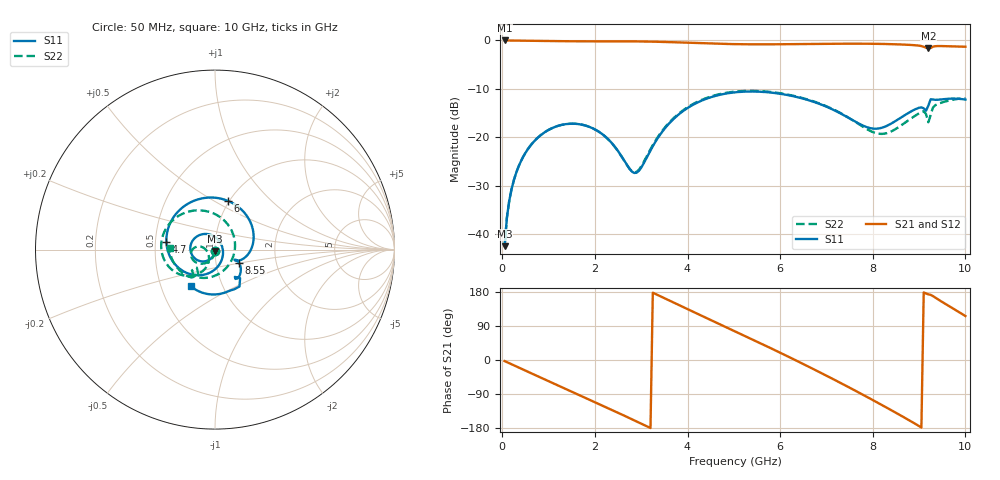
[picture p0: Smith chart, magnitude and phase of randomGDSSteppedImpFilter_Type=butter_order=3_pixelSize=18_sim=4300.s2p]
! freq	dB(S11)	phase(S11)	dB(S12)	phase(S12)
!  dB(S21)	phase(S21)	dB(S22)	phase(S22)
!S-par simulation data
#  GHz  S  DB  R 50
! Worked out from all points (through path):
!   200 points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, 50 MHz to 10 GHz, reference 50 ohm
!   highest |S21| = -0.01 dB at 50 MHz (marker M1); lowest = -1.6 dB at 9.2 GHz (marker M2)
!   group delay of S21, straight-line fit = 165 ps
!   lowest |S11| = -42.5 dB at 50 MHz (marker M3), VSWR 1.02, Z = 50 - j0.75 ohm
!   |S11| at or under -10 dB: start of sweep to end of sweep
!   |S22| runs from -42.5 to -10.4 dB; largest |S21 - S12| = 0
!   S11 on the Smith chart (normalised r, x): 50 MHz: 1.00, -0.02; 4.7 GHz: 0.57, +0.06; 6 GHz: 0.98, +0.58; 8.55 GHz: 1.29, -0.20; 10 GHz: 0.71, -0.31
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0.05  -42.49 -87.8  -0.01 -2.8  -0.01 -2.8  -42.47 -87.2
0.1  -36.57 -94.0  -0.01 -5.7  -0.01 -5.7  -36.55 -92.8
0.2  -30.73 -101.9  -0.02 -11.3  -0.02 -11.3  -30.71 -99.4
0.55  -22.49 -124.8  -0.07 -30.8  -0.07 -30.8  -22.47 -117.9
1.15  -17.83 -162.7  -0.15 -64.1  -0.15 -64.1  -17.81 -147.0
1.75  -17.47 157.6  -0.19 -97.2  -0.19 -97.2  -17.47 -173.6
2.25  -20.08 118.5  -0.19 -125.1  -0.19 -125.1  -20.11 170.0
2.85  -27.38 19.3  -0.20 -159.3  -0.20 -159.3  -27.25 -157.6
3.4  -19.57 -86.8  -0.29 168.9  -0.29 168.9  -19.37 -116.5
4.1  -13.39 -145.9  -0.51 128.5  -0.51 128.5  -13.24 -137.8
4.7  -11.23 170.6  -0.70 94.2  -0.70 94.2  -11.08 -162.5
5.05  -10.70 145.5  -0.78 74.3  -0.78 74.3  -10.55 -177.0
6  -11.02 75.5  -0.80 19.3  -0.80 19.3  -10.91 143.6
6.7  -12.61 24.1  -0.73 -22.9  -0.73 -22.9  -12.52 112.3
7.6  -16.66 -24.6  -0.67 -79.5  -0.67 -79.5  -16.69 54.1
7.95  -18.13 -28.2  -0.69 -102.3  -0.69 -102.3  -18.71 15.9
8.35  -17.43 -26.1  -0.76 -129.1  -0.76 -129.1  -19.00 -41.5
8.55  -16.29 -29.0  -0.82 -142.7  -0.82 -142.7  -17.96 -68.6
9.1  -14.02 -55.2  -1.32 178.3  -1.32 178.3  -14.64 -129.8
9.2  -13.48 -48.7  -1.62 173.2  -1.62 173.2  -16.91 -135.1
9.35  -12.27 -68.4  -1.20 164.6  -1.20 164.6  -13.39 -136.6
10  -12.22 -123.7  -1.31 116.1  -1.31 116.1  -11.92 178.2
